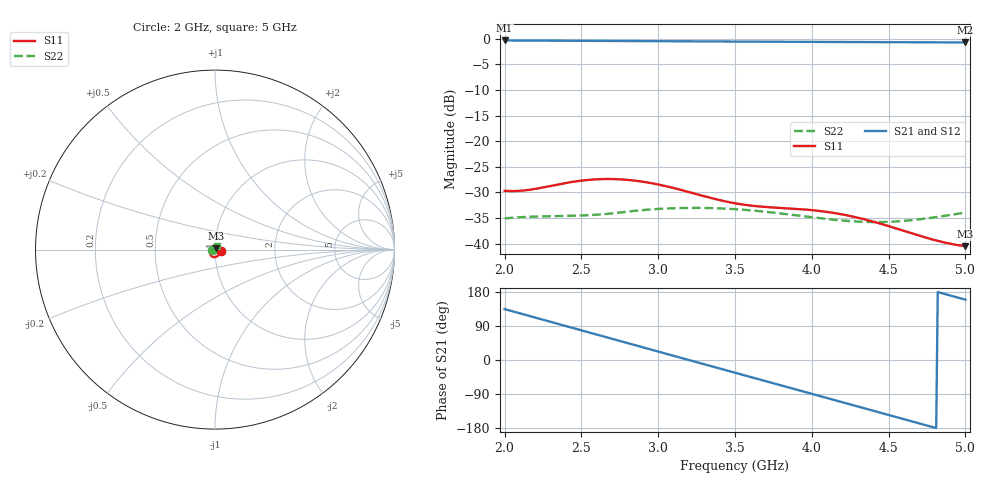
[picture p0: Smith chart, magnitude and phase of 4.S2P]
#  MHZ S MA R 50.0
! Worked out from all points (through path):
!   301 points, 2 GHz to 5 GHz, reference 50 ohm
!   highest |S21| = -0.33 dB at 2 GHz (marker M1); lowest = -0.7 dB at 5 GHz (marker M2)
!   group delay of S21, straight-line fit = 310 ps
!   lowest |S11| = -40.5 dB at 5 GHz (marker M3), VSWR 1.02, Z = 50.6 + j0.711 ohm
!   |S11| at or under -10 dB: start of sweep to end of sweep
!   |S22| runs from -35.8 to -33.0 dB; largest |S21 - S12| = 0
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2000  0.0328 -9.7  0.963 134.3  0.963 134.3  0.01766 -168.2
2130  0.03312 -33.7  0.9609 119.7  0.9609 119.7  0.01821 173.3
2260  0.03561 -55.3  0.9587 105.1  0.9587 105.1  0.01849 154.8
2380  0.03866 -71.8  0.9567 91.7  0.9567 91.7  0.01864 138.2
2500  0.04124 -85.3  0.9548 78.2  0.9548 78.2  0.01885 122.0
2730  0.04262 -106.6  0.9511 52.5  0.9511 52.5  0.01996 91.5
2870  0.04085 -118.6  0.9489 36.8  0.9489 36.8  0.02109 74.1
3000  0.03781 -130.3  0.9469 22.3  0.9469 22.3  0.02183 57.5
3130  0.03403 -143.1  0.9449 7.7  0.9449 7.7  0.02224 39.8
3250  0.03045 -156.4  0.9431 -5.7  0.9431 -5.7  0.02236 22.5
3370  0.0273 -171.4  0.9413 -19.1  0.9413 -19.1  0.0222 4.3
3500  0.02479 171.0  0.9394 -33.6  0.9394 -33.6  0.02173 -16.2
3760  0.0225 136.7  0.9356 -62.6  0.9356 -62.6  0.02003 -59.7
3880  0.02196 123.3  0.934 -75.9  0.934 -75.9  0.01907 -80.9
4000  0.02126 111.5  0.9323 -89.3  0.9323 -89.3  0.01812 -102.9
4120  0.02021 101.2  0.9307 -102.7  0.9307 -102.7  0.01727 -125.7
4240  0.01877 92.0  0.9292 -116.1  0.9292 -116.1  0.01664 -149.5
4500  0.01484 74.2  0.9261 -145.0  0.9261 -145.0  0.01635 157.1
4630  0.0129 66.1  0.9246 -159.5  0.9246 -159.5  0.01685 130.4
4750  0.01138 59.1  0.9233 -172.9  0.9233 -172.9  0.01766 106.4
4870  0.01022 53.0  0.9221 173.7  0.9221 173.7  0.01875 83.3
5000  0.009456 47.9  0.9208 159.2  0.9208 159.2  0.02013 59.3
